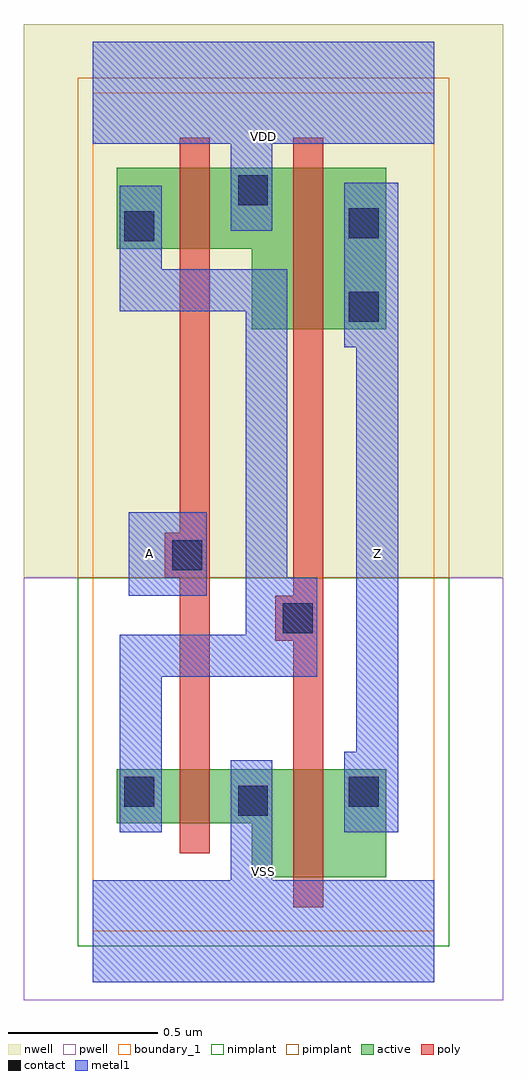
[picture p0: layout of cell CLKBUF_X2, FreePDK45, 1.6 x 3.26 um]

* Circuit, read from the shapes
.subckt CLKBUF_X2 A VDD VSS Z
M1 VSS A n1 VSUBS nfet w=0.18u l=0.1u
M2 Z n1 VSS VSUBS nfet w=0.36u l=0.1u
M3 VDD A n1 n2 pfet w=0.27u l=0.1u
M4 Z n1 VDD n2 pfet w=0.54u l=0.1u
.ends

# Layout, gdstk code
import gdstk
lib = gdstk.Library(unit=1e-6, precision=1e-09)
def R(c, l, rs):  # rectangles x0, y0, x1, y1
    for r in rs: c.add(gdstk.rectangle(r[:2], r[2:], *l))
def P(c, l, *ps):  # polygons
    for p in ps: c.add(gdstk.Polygon(p, *l))
active = (1, 0)
pwell = (2, 0)
nwell = (3, 0)
nimplant = (4, 0)
pimplant = (5, 0)
poly = (9, 0)
contact = (10, 0)
metal1 = (11, 0)
boundary_1 = (235, 1)

clkbuf_x2 = lib.new_cell('CLKBUF_X2')
P(clkbuf_x2, active, [(0.08,2.28),(0.53,2.28),(0.53,2.01),(0.98,2.01),(0.98,2.55),(0.08,2.55)],
  [(0.08,0.36),(0.53,0.36),(0.53,0.18),(0.98,0.18),(0.98,0.54),(0.08,0.54)])
R(clkbuf_x2, pwell, [(-0.23,-0.23,1.37,1.18)])
R(clkbuf_x2, nwell, [(-0.23,1.18,1.37,3.03)])
R(clkbuf_x2, nimplant, [(-0.05,-0.05,1.19,1.18)])
R(clkbuf_x2, pimplant, [(-0.05,1.18,1.19,2.85)])
P(clkbuf_x2, poly, [(0.61,0.97),(0.67,0.97),(0.67,0.08),(0.77,0.08),(0.77,2.65),(0.67,2.65),(0.67,1.12),(0.61,1.12)],
  [(0.24,1.18),(0.29,1.18),(0.29,0.26),(0.39,0.26),(0.39,2.65),(0.29,2.65),(0.29,1.33),(0.24,1.33)])
R(clkbuf_x2, contact, [(0.485,0.385,0.585,0.485), (0.105,0.415,0.205,0.515), (0.855,0.415,0.955,0.515), (0.635,0.995,0.735,1.095), (0.265,1.205,0.365,1.305), (0.855,2.035,0.955,2.135), (0.105,2.305,0.205,2.405), (0.855,2.315,0.955,2.415), (0.485,2.425,0.585,2.525)])
R(clkbuf_x2, metal1, [(0.12,1.12,0.38,1.4), (0.12,1.12,0.38,1.4)])
P(clkbuf_x2, metal1, [(0,-0.17),(1.14,-0.17),(1.14,0.17),(0.6,0.17),(0.6,0.57),(0.46,0.57),(0.46,0.17),(0,0.17)],
  [(0,2.63),(0.46,2.63),(0.46,2.34),(0.6,2.34),(0.6,2.63),(1.14,2.63),(1.14,2.97),(0,2.97)],
  [(0.84,1.95),(0.88,1.95),(0.88,0.6),(0.84,0.6),(0.84,0.33),(1.02,0.33),(1.02,2.5),(0.84,2.5)],
  [(0,2.63),(0.46,2.63),(0.46,2.34),(0.6,2.34),(0.6,2.63),(1.14,2.63),(1.14,2.97),(0,2.97)],
  [(0,-0.17),(1.14,-0.17),(1.14,0.17),(0.6,0.17),(0.6,0.57),(0.46,0.57),(0.46,0.17),(0,0.17)],
  [(0.84,1.95),(0.88,1.95),(0.88,0.6),(0.84,0.6),(0.84,0.33),(1.02,0.33),(1.02,2.5),(0.84,2.5)],
  [(0.09,2.07),(0.51,2.07),(0.51,0.99),(0.09,0.99),(0.09,0.33),(0.23,0.33),(0.23,0.85),(0.75,0.85),(0.75,1.18),(0.65,1.18),(0.65,2.21),(0.23,2.21),(0.23,2.49),(0.09,2.49)])
R(clkbuf_x2, boundary_1, [(0,0,1.14,2.8)])
clkbuf_x2.add(gdstk.Label('Z', (0.95,1.26), layer=11, texttype=0))
clkbuf_x2.add(gdstk.Label('VSS', (0.57,0.2), layer=11, texttype=0))
clkbuf_x2.add(gdstk.Label('VDD', (0.57,2.655), layer=11, texttype=0))
clkbuf_x2.add(gdstk.Label('A', (0.19,1.26), layer=11, texttype=0))

lib.write_gds('CLKBUF_X2.gds')
